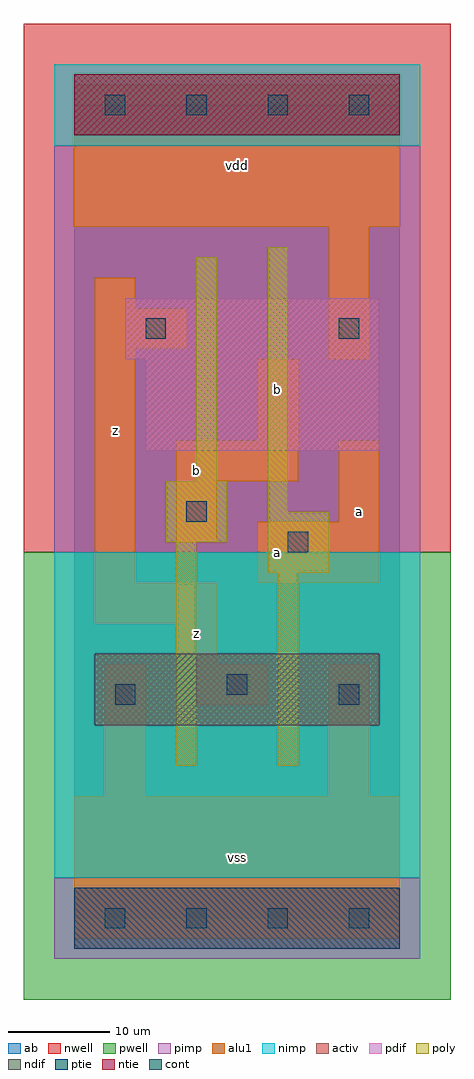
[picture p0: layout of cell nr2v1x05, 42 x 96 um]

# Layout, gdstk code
import gdstk
lib = gdstk.Library(unit=1e-6, precision=1e-09)
def R(c, l, rs):  # rectangles x0, y0, x1, y1
    for r in rs: c.add(gdstk.rectangle(r[:2], r[2:], *l))
def A(c, l, x, y, w, h, nx, ny, dx, dy):  # array of equal rectangles
    R(c, l, [(x+i*dx, y+j*dy, x+i*dx+w, y+j*dy+h) for i in range(nx) for j in range(ny)])
ndif = (3, 0)
pdif = (4, 0)
ntie = (5, 0)
ptie = (6, 0)
cont = (25, 0)
pwell = (41, 0)
nwell = (42, 0)
activ = (43, 0)
pimp = (44, 0)
nimp = (45, 0)
poly = (46, 0)
alu1 = (49, 0)
ab = (63, 0)

nr2v1x05 = lib.new_cell('nr2v1x05')
R(nr2v1x05, ndif, [(2,19,30,26)])
R(nr2v1x05, pdif, [(7,46,30,55), (5,55,30,61)])
R(nr2v1x05, ntie, [(0,77,32,83)])
R(nr2v1x05, ptie, [(0,-3,32,3)])
A(nr2v1x05, cont, 3, -1, 2, 2, 4, 2, 8, 80)
R(nr2v1x05, cont, [(4,21,6,23), (26,21,28,23), (15,22,17,24), (21,36,23,38), (11,39,13,41), (7,57,9,59), (26,57,28,59)])
R(nr2v1x05, pwell, [(-5,-8,37,36)])
R(nr2v1x05, nwell, [(-5,36,37,88)])
R(nr2v1x05, activ, [(0,-3,32,3), (2,19,30,26), (7,46,30,55), (5,55,30,61), (0,77,32,83)])
R(nr2v1x05, pimp, [(-2,-4,34,4), (-2,36,34,76)])
R(nr2v1x05, nimp, [(-2,4,34,36), (-2,76,34,84)])
R(nr2v1x05, poly, [(10,15,12,37), (20,15,22,34), (19,34,25,40), (9,37,15,43), (19,40,21,66), (12,43,14,65)])
R(nr2v1x05, alu1, [(0,-2,32,12), (3,12,7,25), (25,12,29,25), (10,21,19,25), (10,25,14,29), (2,29,14,33), (2,33,6,56), (18,33,30,39), (10,37,14,43), (26,39,30,47), (10,43,22,47), (18,47,22,55), (25,55,29,68), (2,56,11,60), (2,60,6,63), (0,68,32,82)])
R(nr2v1x05, ab, [(0,0,32,80)])
nr2v1x05.add(gdstk.Label('z', (4,48), layer=49, texttype=0))
nr2v1x05.add(gdstk.Label('z', (12,28), layer=49, texttype=0))
nr2v1x05.add(gdstk.Label('b', (12,44), layer=49, texttype=0))
nr2v1x05.add(gdstk.Label('vss', (16,6), layer=49, texttype=0))
nr2v1x05.add(gdstk.Label('a', (20,36), layer=49, texttype=0))
nr2v1x05.add(gdstk.Label('b', (20,52), layer=49, texttype=0))
nr2v1x05.add(gdstk.Label('vdd', (16,74), layer=49, texttype=0))
nr2v1x05.add(gdstk.Label('a', (28,40), layer=49, texttype=0))

lib.write_gds('nr2v1x05.gds')
